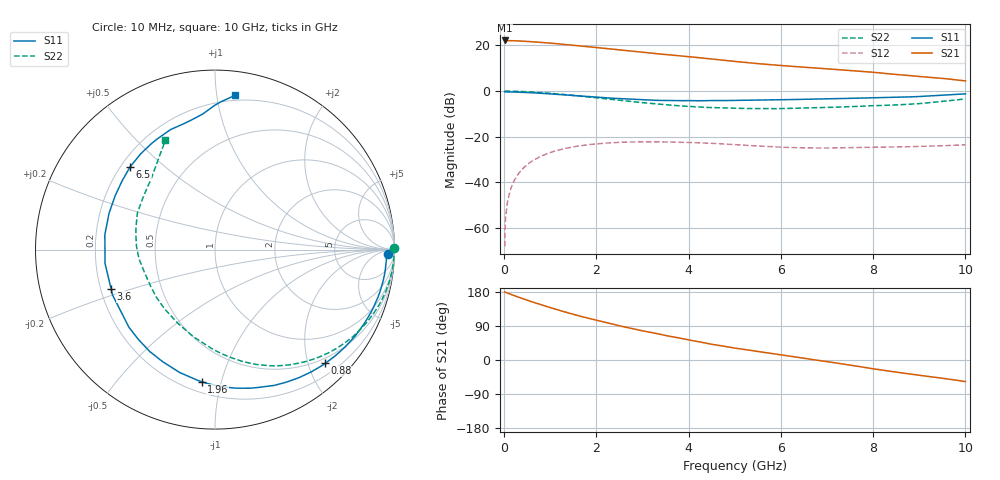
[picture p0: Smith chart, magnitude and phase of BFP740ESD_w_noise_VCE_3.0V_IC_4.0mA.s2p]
! Infineon Technologies  Discrete & RF Semiconductors
! BFP740ESD
! VCE =  3.0 V,  IC =  4.0 mA
! Common Emitter S-Parameters:  Jan 2016
# GHz  S  MA  R  50
!  f  S11  S21  S12  S22
! GHz  MAG  ANG  MAG  ANG  MAG  ANG  MAG  ANG
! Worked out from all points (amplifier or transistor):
!   233 points, 10 MHz to 10 GHz, reference 50 ohm
!   highest |S21| = 22.2 dB at 10 MHz (marker M1)
!   |S21| within 3 dB of that: start of sweep to 1.951 GHz
!   unconditionally stable (mu >= 1): 6.054 GHz to 9.381 GHz
!   at 200 MHz: K = 0.04, MSG = 31.0 dB, |S12| = -40.0 dB
!   at 1.74 GHz: K = 0.24, MSG = 21.7 dB, |S12| = -23.7 dB
!   at 10 GHz: K = 0.67, MSG = 14.0 dB, |S12| = -23.5 dB
!   lowest NFmin = 0.51 dB at 450 MHz
!   S11 on the Smith chart (normalised r, x): 10 MHz: 40, -27; 880 MHz: 0.40, -2.30; 1.96 GHz: 0.27, -0.87; 3.6 GHz: 0.24, -0.17; 6.5 GHz: 0.24, +0.39; 10 GHz: 0.16, +1.12
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0.01  0.966 -1.3  12.82 179.6  0.0004 -32.5  0.9953 0.6
0.015  0.9616 -1.3  12.73 179.4  0.0004 67.6  0.9967 -0.1
0.025  0.9571 -1.4  12.64 178.9  0.0013 90.0  0.9982 -1.0
0.05  0.9571 -2.7  12.65 177.4  0.0027 88.5  0.9983 -1.8
0.19  0.9531 -10.2  12.66 171.2  0.0095 82.8  0.9933 -7.1
0.36  0.9408 -19.2  12.45 163.8  0.0178 77.1  0.9804 -13.4
0.6  0.9173 -31.7  12.03 153.6  0.0289 68.7  0.9529 -21.9
0.88  0.8825 -45.9  11.46 142.8  0.0405 59.4  0.9121 -31.4
1.28  0.8278 -65.4  10.59 128.1  0.0542 47.3  0.8428 -44.4
1.68  0.7737 -83.7  9.685 114.6  0.064 36.4  0.7701 -56.1
1.96  0.7395 -95.8  9.057 106.0  0.069 29.8  0.7217 -63.8
2.6  0.6741 -122.7  7.802 87.5  0.0759 15.9  0.6134 -80.8
3  0.6459 -137.9  7.088 77.0  0.0772 8.6  0.5567 -91.0
3.4  0.6236 -152.3  6.455 67.4  0.0768 2.4  0.5108 -100.8
3.6  0.6188 -159.3  6.178 62.5  0.0764 -0.4  0.4918 -105.9
4  0.6175 -172.8  5.677 52.9  0.0752 -5.6  0.4607 -116.4
4.5  0.6193 172.3  5.043 41.4  0.0717 -11.4  0.4343 -130.0
5.1  0.6244 159.1  4.354 29.7  0.0661 -15.6  0.4179 -143.3
6.5  0.6601 135.8  3.33 4.5  0.057 -16.3  0.4266 -173.1
6.8  0.6677 131.0  3.163 -0.7  0.0567 -15.5  0.4321 -179.0
8.4  0.7234 103.6  2.356 -30.3  0.0592 -14.2  0.4917 145.6
10  0.8662 82.6  1.668 -57.0  0.0665 -16.1  0.6706 114.3
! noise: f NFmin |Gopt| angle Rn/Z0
0.45  0.51  0.48  6  0.16
0.9  0.54  0.48  17  0.14
1.9  0.58  0.41  37  0.12
2.4  0.65  0.36  54  0.14
5.5  0.98  0.27  -178  0.11
10  2.13  0.64  -96  0.63
